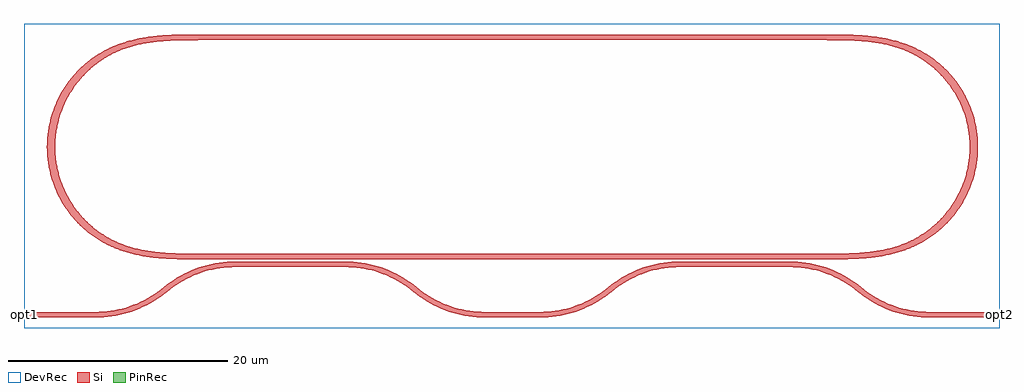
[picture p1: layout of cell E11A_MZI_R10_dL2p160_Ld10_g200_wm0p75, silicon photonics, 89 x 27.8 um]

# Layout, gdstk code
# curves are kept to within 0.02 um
import gdstk
lib = gdstk.Library(unit=1e-6, precision=1e-09)
def R(c, l, rs):  # rectangles x0, y0, x1, y1
    for r in rs: c.add(gdstk.rectangle(r[:2], r[2:], *l))
def P(c, l, *ps):  # polygons
    for p in ps: c.add(gdstk.Polygon(p, *l))
Si = (1, 0)
PinRec = (1, 10)
DevRec = (68, 0)

c__e11aring_r10p000_lc54p5 = lib.new_cell('_E11Aring_R10p000_Lc54p534_w0p500_wm0p750_tp30')
R(c__e11aring_r10p000_lc54p5, Si, [(-27.267,-10.25,27.267,-9.75), (-27.267,9.75,27.267,10.25)])
P(c__e11aring_r10p000_lc54p5, Si, [(-28.428,-10.25),(-31.412,-10.193),(-32.57,-10.105),(-33.557,-9.976),(-34.533,-9.783),(-35.333,-9.565),(-36.115,-9.289),(-36.873,-8.954),(-37.736,-8.475),(-38.406,-8.02),(-39.157,-7.404),(-39.846,-6.719),(-40.464,-5.969),(-40.922,-5.301),(-41.398,-4.454),(-41.729,-3.715),(-42.047,-2.797),(-42.273,-1.852),(-42.407,-0.89),(-42.447,0.081),(-42.373,1.212),(-42.208,2.17),(-41.951,3.107),(-41.604,4.014),(-41.17,4.884),(-40.654,5.707),(-40.06,6.476),(-39.394,7.184),(-38.663,7.823),(-37.873,8.388),(-37.021,8.88),(-36.115,9.29),(-35.174,9.613),(-34.046,9.888),(-32.735,10.088),(-31.412,10.193),(-29.921,10.24),(-27.267,10.25),(-27.267,9.75),(-29.786,9.741),(-31.516,9.678),(-33.081,9.515),(-34.316,9.271),(-35.073,9.054),(-35.665,8.841),(-36.243,8.591),(-36.804,8.304),(-37.844,7.636),(-38.787,6.84),(-39.217,6.398),(-39.713,5.807),(-40.16,5.179),(-40.48,4.651),(-40.83,3.964),(-41.069,3.395),(-41.315,2.664),(-41.502,1.916),(-41.606,1.308),(-41.682,0.54),(-41.697,-0.077),(-41.659,-0.847),(-41.584,-1.46),(-41.434,-2.216),(-41.271,-2.811),(-41.013,-3.538),(-40.696,-4.242),(-40.243,-5.048),(-39.807,-5.684),(-39.217,-6.398),(-38.675,-6.946),(-37.967,-7.543),(-37.336,-7.986),(-36.665,-8.379),(-35.811,-8.781),(-34.923,-9.101),(-33.856,-9.376),(-32.925,-9.537),(-31.83,-9.655),(-30.73,-9.717),(-27.267,-9.75),(-27.267,-10.25)],
  [(27.267,-10.25),(27.267,-9.75),(29.943,-9.738),(31.516,-9.678),(32.925,-9.537),(34.163,-9.307),(35.073,-9.053),(35.956,-8.72),(36.804,-8.304),(37.593,-7.815),(38.445,-7.152),(39.217,-6.398),(39.898,-5.56),(40.554,-4.515),(41.013,-3.538),(41.397,-2.366),(41.606,-1.307),(41.672,-0.694),(41.697,-0.077),(41.644,1.001),(41.469,2.066),(41.175,3.105),(40.696,4.242),(40.16,5.179),(39.807,5.685),(39.421,6.167),(38.675,6.946),(38.21,7.352),(37.719,7.726),(36.941,8.227),(36.1,8.657),(35.222,9.004),(34.163,9.308),(32.769,9.559),(31.516,9.678),(29.786,9.741),(27.267,9.75),(27.267,10.25),(31.081,10.209),(32.405,10.122),(33.229,10.026),(34.371,9.82),(35.333,9.565),(36.115,9.29),(37.021,8.88),(37.873,8.388),(38.663,7.823),(39.394,7.184),(40.06,6.476),(40.654,5.707),(41.17,4.884),(41.604,4.014),(41.951,3.107),(42.208,2.17),(42.373,1.212),(42.444,0.243),(42.42,-0.728),(42.302,-1.693),(42.091,-2.641),(41.788,-3.564),(41.398,-4.454),(40.922,-5.301),(40.464,-5.969),(39.846,-6.719),(39.277,-7.295),(38.663,-7.823),(37.873,-8.388),(37.021,-8.879),(36.268,-9.227),(35.333,-9.565),(34.533,-9.783),(33.557,-9.976),(32.735,-10.087),(31.578,-10.184),(30.584,-10.226)])

e11a_mzi_r10_dl2p160_ld1 = lib.new_cell('E11A_MZI_R10_dL2p160_Ld10_g200_wm0p75')
R(e11a_mzi_r10_dl2p160_ld1, Si, [(-1,-0.25,0,0.25), (0,-0.25,5.5,0.25), (41.034,-0.25,46.034,0.25), (81.567,-0.25,86.981,0.25), (86.981,-0.25,87.981,0.25), (18.267,4.355,28.267,4.855), (58.8,4.355,68.8,4.855)])
P(e11a_mzi_r10_dl2p160_ld1, Si, [(52.577,2.11),(52.257,2.495),(52.849,2.95),(53.473,3.362),(54.125,3.726),(54.801,4.042),(55.499,4.309),(56.577,4.611),(57.682,4.794),(58.8,4.855),(58.8,4.355),(57.737,4.297),(57.034,4.194),(55.998,3.944),(55.326,3.715),(54.672,3.438),(54.039,3.113),(53.14,2.543)],
  [(81.567,-0.25),(80.449,-0.189),(79.71,-0.08),(78.981,0.082),(78.266,0.296),(77.568,0.562),(76.562,1.055),(75.924,1.443),(75.024,2.11),(75.343,2.495),(75.906,2.062),(76.806,1.491),(77.438,1.167),(78.093,0.89),(79.107,0.565),(79.801,0.411),(80.504,0.308),(81.567,0.25)],
  [(46.034,-0.25),(46.034,0.25),(47.097,0.308),(47.8,0.411),(48.494,0.565),(49.508,0.89),(50.162,1.167),(50.795,1.491),(51.694,2.062),(52.257,2.495),(52.577,2.11),(51.677,1.443),(51.039,1.055),(50.033,0.562),(49.335,0.296),(48.62,0.082),(47.891,-0.08),(47.152,-0.189)],
  [(41.034,-0.25),(39.915,-0.189),(39.176,-0.08),(38.447,0.082),(37.732,0.296),(37.034,0.562),(36.029,1.055),(35.39,1.443),(34.491,2.11),(34.81,2.495),(35.373,2.062),(36.273,1.491),(36.905,1.167),(37.559,0.89),(38.231,0.661),(39.267,0.411),(39.97,0.308),(41.034,0.25)],
  [(75.024,2.11),(74.461,2.543),(73.868,2.934),(72.929,3.438),(72.275,3.715),(71.603,3.944),(70.567,4.194),(69.864,4.297),(68.8,4.355),(68.8,4.855),(69.919,4.794),(71.024,4.611),(72.102,4.309),(72.8,4.042),(73.476,3.726),(74.128,3.362),(74.752,2.95),(75.343,2.495)],
  [(34.491,2.11),(33.928,2.543),(33.335,2.934),(32.396,3.438),(31.742,3.715),(31.069,3.944),(30.033,4.194),(29.331,4.297),(28.267,4.355),(28.267,4.855),(29.385,4.794),(30.49,4.611),(31.568,4.309),(32.266,4.042),(32.943,3.726),(33.594,3.362),(34.218,2.95),(34.81,2.495)],
  [(12.043,2.11),(11.724,2.495),(12.316,2.95),(12.939,3.362),(13.591,3.726),(14.267,4.042),(14.965,4.309),(16.044,4.611),(17.149,4.794),(18.267,4.855),(18.267,4.355),(17.203,4.297),(16.5,4.194),(15.465,3.944),(14.792,3.715),(14.138,3.438),(13.199,2.934),(12.606,2.543)],
  [(5.5,-0.25),(5.5,0.25),(6.564,0.308),(7.267,0.411),(7.96,0.565),(8.975,0.89),(9.629,1.167),(10.261,1.491),(11.161,2.062),(11.724,2.495),(12.043,2.11),(11.143,1.443),(10.505,1.055),(9.841,0.714),(8.802,0.296),(7.723,-0.006),(6.989,-0.141),(6.246,-0.223)])
R(e11a_mzi_r10_dl2p160_ld1, DevRec, [(-1,-1.25,87.981,26.555)])
e11a_mzi_r10_dl2p160_ld1.add(gdstk.FlexPath([(87.971,0),(87.991,0)], 0.5, ends="flush", simple_path=True, layer=1, datatype=10))  # PinRec
e11a_mzi_r10_dl2p160_ld1.add(gdstk.FlexPath([(-0.99,0),(-1.01,0)], 0.5, ends="flush", simple_path=True, layer=1, datatype=10))  # PinRec
e11a_mzi_r10_dl2p160_ld1.add(gdstk.Reference(c__e11aring_r10p000_lc54p5, (43.534,15.305)))
e11a_mzi_r10_dl2p160_ld1.add(gdstk.Label('opt2', (87.981,0), layer=1, texttype=10))
e11a_mzi_r10_dl2p160_ld1.add(gdstk.Label('opt1', (-1,0), layer=1, texttype=10))

lib.write_gds('E11A_MZI_R10_dL2p160_Ld10_g200_wm0p75.gds')
